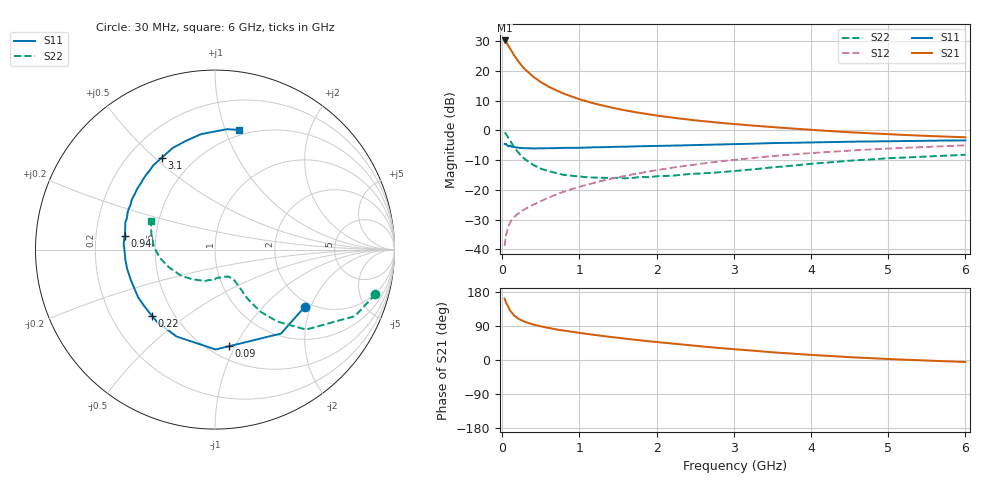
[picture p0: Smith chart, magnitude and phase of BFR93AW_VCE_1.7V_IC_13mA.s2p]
! Infineon Technologies  Discrete & RF Semiconductors
! BFR93AW
! VCE =  1.7 V,  IC =  13 mA
! Common Emitter S-Parameters:  Nov 2015
# GHz  S  MA  R  50
!  f  S11  S21  S12  S22
! GHz  MAG  ANG  MAG  ANG  MAG  ANG  MAG  ANG
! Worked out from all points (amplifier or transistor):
!   206 points, 30 MHz to 6 GHz, reference 50 ohm
!   highest |S21| = 30.3 dB at 30 MHz (marker M1)
!   |S21| within 3 dB of that: start of sweep to 108.1 MHz
!   unconditionally stable (mu >= 1): 645.6 MHz to 2.48 GHz
!   at 200 MHz: K = 0.58, MSG = 25.8 dB, |S12| = -28.1 dB
!   at 1.56 GHz: K = 1.06, MAG = 9.6 dB, |S12| = -15.4 dB
!   at 6 GHz: K = 0.95, MSG = 1.4 dB, |S12| = -5.0 dB
!   S11 on the Smith chart (normalised r, x): 30 MHz: 1.84, -1.81; 90 MHz: 0.62, -0.94; 220 MHz: 0.38, -0.38; 940 MHz: 0.33, +0.07; 3.1 GHz: 0.33, +0.53; 6 GHz: 0.45, +1.12
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0.03  0.5929 -32.6  32.65 162.1  0.0113 74.8  0.9276 -15.5
0.05  0.5951 -51.8  30.86 150.3  0.0177 68.2  0.8633 -25.4
0.09  0.5442 -81.9  25.14 135.0  0.0262 58.6  0.7078 -37.5
0.1  0.5565 -89.6  24.07 130.2  0.0284 57.1  0.6752 -41.3
0.15  0.5296 -113.9  18.56 117.9  0.0346 53.3  0.5288 -49.2
0.2  0.5162 -128.9  14.91 109.9  0.0394 53.0  0.4346 -53.5
0.22  0.5094 -133.4  13.84 107.9  0.0411 53.2  0.4075 -54.2
0.26  0.5042 -141.9  11.92 103.4  0.0446 53.7  0.3582 -55.7
0.3  0.504 -148.2  10.47 99.9  0.048 54.4  0.3232 -56.5
0.4  0.4986 -159.8  8.005 93.4  0.0562 57.3  0.2632 -56.9
0.5  0.5014 -168.0  6.495 88.4  0.0648 59.7  0.227 -57.4
0.6  0.5026 -173.9  5.449 84.4  0.074 61.5  0.2061 -57.6
0.7  0.5037 -179.2  4.717 80.7  0.0839 62.7  0.1917 -58.8
0.8  0.5101 176.4  4.141 77.4  0.0932 64.0  0.1784 -61.1
0.94  0.5093 171.3  3.559 73.3  0.1069 64.8  0.1707 -62.7
1.04  0.5125 167.8  3.232 70.4  0.1165 65.0  0.1652 -65.6
1.5  0.5317 155.1  2.294 58.6  0.1633 64.2  0.1593 -79.7
2.02  0.5494 142.3  1.766 46.8  0.2169 61.3  0.1702 -97.4
3.1  0.5919 119.9  1.25 27.0  0.329 51.9  0.2128 -130.4
4.1  0.632 102.7  1.004 12.3  0.4246 41.0  0.2809 -161.7
5.1  0.6602 89.0  0.852 1.7  0.5023 29.9  0.3446 175.1
6  0.68 78.6  0.768 -5.3  0.5615 20.5  0.3898 156.2
